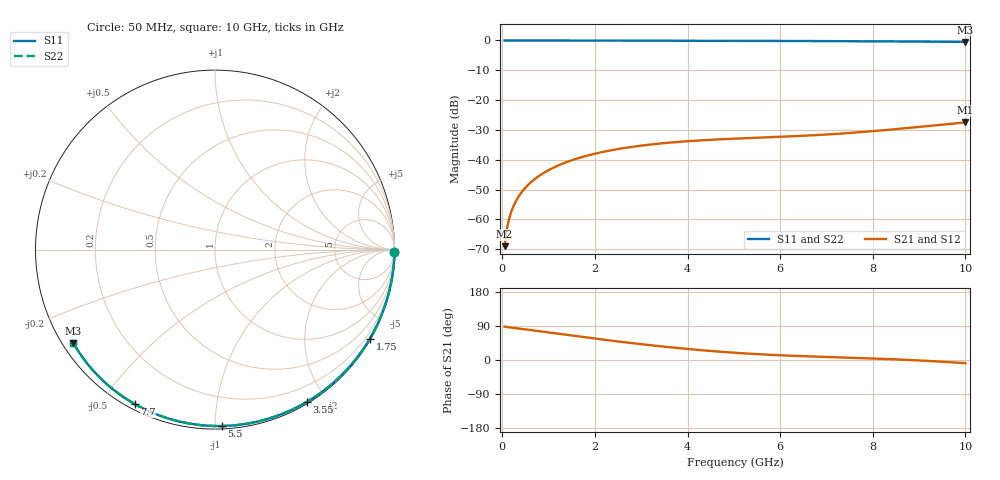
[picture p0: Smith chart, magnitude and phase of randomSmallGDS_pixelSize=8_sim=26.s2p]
! freq	dB(S11)	phase(S11)	dB(S12)	phase(S12)
!  dB(S21)	phase(S21)	dB(S22)	phase(S22)
!S-par simulation data
#  GHz  S  DB  R 50
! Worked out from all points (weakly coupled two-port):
!   200 points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, 50 MHz to 10 GHz, reference 50 ohm
!   highest |S21| = -27.48 dB at 10 GHz (marker M1); lowest = -69.0 dB at 50 MHz (marker M2)
!   lowest |S11| = -0.5 dB at 10 GHz (marker M3), VSWR 35.81, Z = 1.52 - j15 ohm
!   |S11| at or under -10 dB: nowhere
!   |S22| runs from -0.5 to 0.0 dB; largest |S21 - S12| = 0
!   S11 on the Smith chart (normalised r, x): 50 MHz: open; 1.75 GHz: 0.03, -3.75; 3.55 GHz: 0.02, -1.77; 5.5 GHz: 0.02, -1.04; 7.7 GHz: 0.02, -0.61; 10 GHz: 0.03, -0.30
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0.05  -0.00 -0.9  -68.97 88.2  -68.97 88.2  -0.00 -0.9
0.1  -0.00 -1.7  -63.06 87.0  -63.06 87.0  -0.00 -1.7
0.15  -0.00 -2.6  -59.62 86.1  -59.62 86.1  -0.00 -2.6
0.2  -0.00 -3.5  -57.18 85.4  -57.18 85.4  -0.00 -3.5
0.25  -0.00 -4.3  -55.27 84.6  -55.27 84.6  -0.00 -4.3
0.35  -0.00 -6.1  -52.40 83.1  -52.40 83.1  -0.00 -6.1
0.5  -0.01 -8.7  -49.34 80.8  -49.34 80.8  -0.01 -8.7
0.7  -0.01 -12.1  -46.47 77.6  -46.47 77.6  -0.01 -12.1
1  -0.02 -17.2  -43.47 72.6  -43.47 72.6  -0.02 -17.2
1.35  -0.03 -23.1  -41.01 66.9  -41.01 66.9  -0.03 -23.1
1.75  -0.04 -29.8  -38.97 60.4  -38.97 60.4  -0.04 -29.8
2.5  -0.05 -42.2  -36.41 48.9  -36.41 48.9  -0.05 -42.2
3.4  -0.08 -56.5  -34.56 36.4  -34.56 36.4  -0.08 -56.5
3.55  -0.08 -58.9  -34.34 34.5  -34.34 34.5  -0.08 -58.9
4.3  -0.10 -70.3  -33.48 25.9  -33.48 25.9  -0.10 -70.3
5.05  -0.13 -81.3  -32.90 18.9  -32.90 18.9  -0.13 -81.3
5.5  -0.14 -87.8  -32.61 15.5  -32.61 15.5  -0.14 -87.8
6.7  -0.20 -104.3  -31.80 9.2  -31.80 9.2  -0.20 -104.3
7.7  -0.27 -117.4  -30.79 5.4  -30.79 5.4  -0.27 -117.4
8.35  -0.32 -125.8  -29.94 2.5  -29.94 2.5  -0.32 -125.8
9.2  -0.40 -136.5  -28.70 -2.5  -28.70 -2.5  -0.40 -136.5
10  -0.49 -146.7  -27.48 -8.3  -27.48 -8.3  -0.49 -146.6
